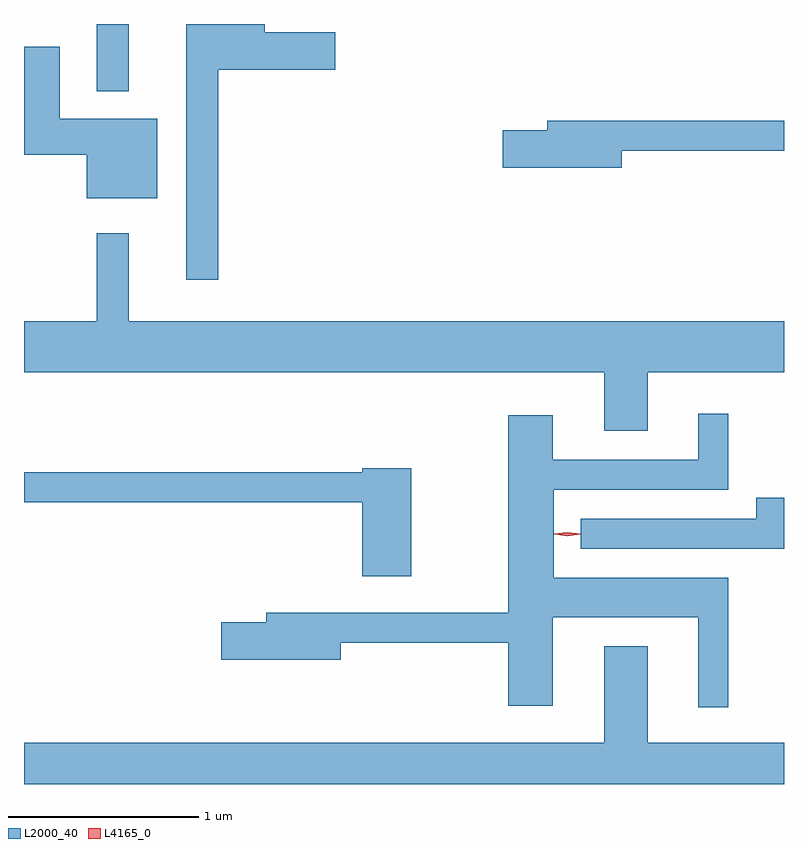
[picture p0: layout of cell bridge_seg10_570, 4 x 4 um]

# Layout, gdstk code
import gdstk
lib = gdstk.Library(unit=1e-6, precision=1e-09)
def R(c, l, rs):  # rectangles x0, y0, x1, y1
    for r in rs: c.add(gdstk.rectangle(r[:2], r[2:], *l))
def P(c, l, *ps):  # polygons
    for p in ps: c.add(gdstk.Polygon(p, *l))
L2000_40 = (2000, 40)
L4165_0 = (4165, 0)

bridge_seg10_570 = lib.new_cell('bridge_seg10_570')
R(bridge_seg10_570, L2000_40, [(658.611,2206.413,658.779,2206.768)])
P(bridge_seg10_570, L2000_40, [(659.249,2206.526),(659.864,2206.526),(659.864,2206.724),(659.494,2206.724),(659.494,2206.768),(659.081,2206.768),(659.081,2205.423),(659.249,2205.423)],
  [(658.929,2206.269),(658.414,2206.269),(658.414,2206.649),(658.227,2206.649),(658.227,2206.081),(658.556,2206.081),(658.556,2205.851),(658.929,2205.851)],
  [(661.374,2206.101),(662.227,2206.101),(662.227,2206.259),(660.981,2206.259),(660.981,2206.209),(660.746,2206.209),(660.746,2206.011),(661.374,2206.011)],
  [(661.509,2204.936),(662.227,2204.936),(662.227,2205.204),(658.779,2205.204),(658.779,2205.668),(658.611,2205.668),(658.611,2205.204),(658.227,2205.204),(658.227,2204.936),(661.281,2204.936),(661.281,2204.626),(661.509,2204.626)],
  [(661.934,2203.854),(661.014,2203.854),(661.014,2204.316),(661.934,2204.316),(661.934,2204.718),(661.776,2204.718),(661.776,2204.474),(661.009,2204.474),(661.009,2204.709),(660.776,2204.709),(660.776,2203.669),(659.501,2203.669),(659.501,2203.619),(659.266,2203.619),(659.266,2203.421),(659.894,2203.421),(659.894,2203.511),(660.776,2203.511),(660.776,2203.181),(661.009,2203.181),(661.009,2203.646),(661.776,2203.646),(661.776,2203.173),(661.934,2203.173)],
  [(660.264,2204.429),(660.006,2204.429),(660.006,2204.409),(658.227,2204.409),(658.227,2204.251),(660.006,2204.251),(660.006,2203.861),(660.264,2203.861)],
  [(662.227,2204.274),(662.081,2204.274),(662.081,2204.164),(661.158,2204.164),(661.158,2204.006),(662.227,2204.006)],
  [(662.227,2202.984),(661.509,2202.984),(661.509,2203.494),(661.281,2203.494),(661.281,2202.984),(658.227,2202.984),(658.227,2202.768),(662.227,2202.768)])
P(bridge_seg10_570, L4165_0, [(661.086,2204.073),(661.02,2204.082),(661.02,2204.083),(661.02,2204.084),(661.086,2204.093),(661.152,2204.084),(661.153,2204.083),(661.152,2204.082)],
  [(661.087,2204.073),(661.018,2204.082),(661.018,2204.083),(661.018,2204.084),(661.087,2204.093),(661.156,2204.084),(661.156,2204.083),(661.156,2204.082)])

lib.write_gds('bridge_seg10_570.gds')
